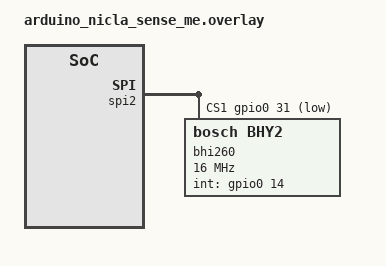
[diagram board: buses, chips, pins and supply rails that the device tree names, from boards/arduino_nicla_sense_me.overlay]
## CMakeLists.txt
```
#
# Copyright (c) 2018 Bosch Sensortec GmbH
#
# SPDX-License-Identifier: Apache-2.0
#

cmake_minimum_required(VERSION 3.20.0)
find_package(Zephyr REQUIRED HINTS $ENV{ZEPHYR_BASE})
project(bhy2)

FILE(GLOB app_sources src/*.c)
target_sources(app PRIVATE ${app_sources})
```

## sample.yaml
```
sample:
  name: BHI260 Sensor sample
tests:
  sample.sensor.bhi260:
    harness: sensor
    tags:
      - samples
      - sensor
    integration_platforms:
      - arduino_nicla_sense_me
    platform_allow:
      - arduino_nicla_sense_me
```

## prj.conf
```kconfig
CONFIG_LOG=y
CONFIG_STDOUT_CONSOLE=y
CONFIG_SPI=y
CONFIG_SENSOR=y
CONFIG_SENSOR_LOG_LEVEL_DBG=y
```

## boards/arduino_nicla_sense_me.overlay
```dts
/*
 * Copyright (c) 2023, Arduino SA
 *
 * SPDX-License-Identifier: Apache-2.0
 */

&spi2 {
	cs-gpios = <&gpio0 26 GPIO_ACTIVE_LOW>,
	           <&gpio0 31 GPIO_ACTIVE_LOW>;

	bhi260@1 {
		compatible = "bosch,bhy2";
		reg = <1>;
		spi-max-frequency = <16000000>;
		int-gpios = <&gpio0 14 GPIO_ACTIVE_HIGH>;

		acc {
			sensor-id = "ACC";
			channel = "ACCEL_XYZ";
			sampling-interval = <10>;
			sampling-latency-ms = <100>;
		};
	};
};
```

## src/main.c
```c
/*
 * Copyright (c) 2018 Bosch Sensortec GmbH
 *
 * SPDX-License-Identifier: Apache-2.0
 */

#include <zephyr/kernel.h>
#include <zephyr/device.h>
#include <zephyr/drivers/sensor.h>
#include <stdio.h>

int main(void)
{
	const struct device *const dev = DEVICE_DT_GET_ONE(bosch_bhy2);
	struct sensor_value gas_res[3];

	if (!device_is_ready(dev)) {
		printk("sensor: device not ready.\n");
		return 0;
	}

	printf("Device %p name is %s\n", dev, dev->name);

	while (1) {
		k_sleep(K_MSEC(3000));

		sensor_sample_fetch(dev);
		sensor_channel_get(dev, SENSOR_CHAN_ACCEL_XYZ, gas_res);

		printf("G: %d.%06d\n", gas_res[0].val1, gas_res[0].val2);
	}
	return 0;
}
```
